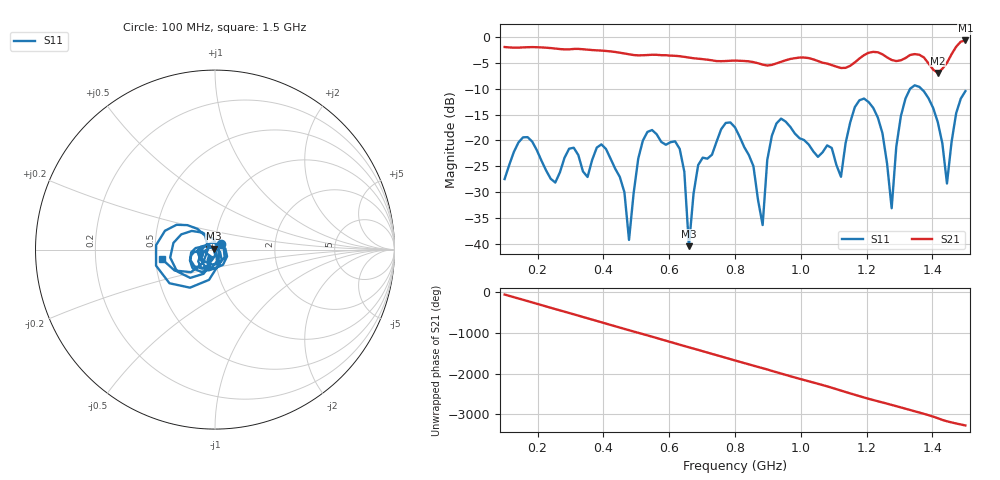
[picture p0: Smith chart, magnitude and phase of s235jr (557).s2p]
! NanoVNA-App
! Date: 2025-09-25 15:08:30
! Start: 100MHz Stop: 1,5GHz Points: 101
! S-Parameter data: F S11 S21 S12 S22
# Hz S RI R 50
!  Frequency  S11_Real  S11_Imag  S21_Real  S21_Imag  S12_Real  S12_Imag  S22_Real  S22_Imag
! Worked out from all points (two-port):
!   101 points, 100 MHz to 1.5 GHz, reference 50 ohm
!   highest |S21| = -0.69 dB at 1.5 GHz (marker M1); lowest = -7.0 dB at 1.416 GHz (marker M2)
!   |S21| within 3 dB of the highest: start of sweep to 624.2 MHz; 1.188 GHz to 1.256 GHz (67.22 MHz wide, 5.5 % of centre)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
!   lowest |S11| = -40.4 dB at 660 MHz (marker M3), VSWR 1.02, Z = 49.2 + j0.552 ohm
!   |S11| at or under -10 dB: start of sweep to 1.332 GHz; 1.366 GHz to end of sweep
!   S12 and S22 are empty: the file has one direction only
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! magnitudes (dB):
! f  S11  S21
! 100 MHz  -27.5  -2.0
! 156 MHz  -19.4  -2.0
! 338 MHz  -26.0  -2.4
! 408 MHz  -21.7  -2.7
! 478 MHz  -39.2  -3.4
! 520 MHz  -20.0  -3.5
! 576 MHz  -20.3  -3.5
! 632 MHz  -21.6  -3.7
! 660 MHz  -40.4  -4.0
! 688 MHz  -24.8  -4.2
! 800 MHz  -17.5  -4.6
! 884 MHz  -36.4  -5.4
! 926 MHz  -16.7  -5.1
! 1.038 GHz  -22.1  -4.3
! 1.122 GHz  -27.0  -6.0
! 1.192 GHz  -11.9  -3.5
! 1.248 GHz  -18.6  -3.4
! 1.276 GHz  -33.1  -4.5
! 1.332 GHz  -10.0  -3.5
! 1.416 GHz  -16.4  -7.0
! 1.444 GHz  -28.3  -5.0
! 1.5 GHz  -10.5  -0.7
